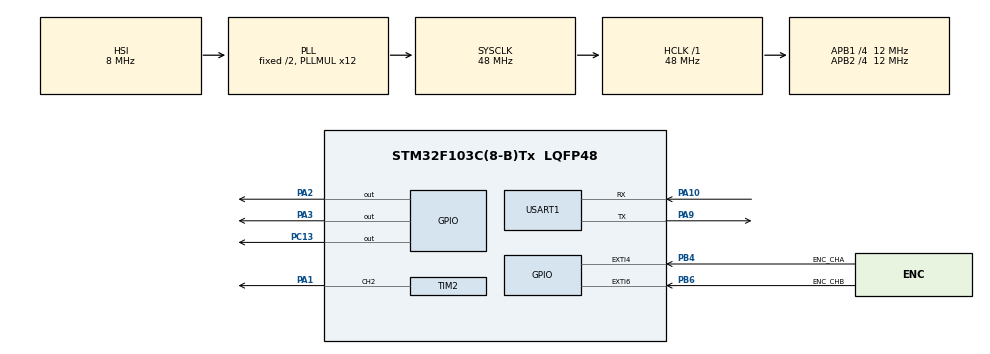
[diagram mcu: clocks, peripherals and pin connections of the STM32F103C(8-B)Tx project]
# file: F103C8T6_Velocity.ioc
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Mcu.Family=STM32F1
Mcu.Name=STM32F103C(8-B)Tx
Mcu.Package=LQFP48
NVIC.EXTI4_IRQn=true\:0\:0\:false\:false\:true\:true\:true\:true
NVIC.EXTI9_5_IRQn=true\:0\:0\:false\:false\:true\:true\:true\:true
NVIC.PriorityGroup=NVIC_PRIORITYGROUP_4
NVIC.TIM3_IRQn=true\:0\:0\:false\:false\:true\:true\:true\:true
NVIC.TIM4_IRQn=true\:0\:0\:false\:false\:true\:true\:true\:true
NVIC.USART1_IRQn=true\:0\:0\:false\:false\:true\:true\:true\:true
PA1.Signal=S_TIM2_CH2
PA10.Mode=Asynchronous
PA10.Signal=USART1_RX
PA13.Mode=Serial_Wire
PA13.Signal=SYS_JTMS-SWDIO
PA14.Mode=Serial_Wire
PA14.Signal=SYS_JTCK-SWCLK
PA2.Signal=GPIO_Output
PA3.Signal=GPIO_Output
PA9.Mode=Asynchronous
PA9.Signal=USART1_TX
PB4.GPIO_Label=ENC_CHA
PB4.GPIO_ModeDefaultEXTI=GPIO_MODE_IT_RISING_FALLING
PB4.GPIO_PuPd=GPIO_PULLUP
PB4.Signal=GPXTI4
PB6.GPIO_Label=ENC_CHB
PB6.GPIO_ModeDefaultEXTI=GPIO_MODE_IT_RISING_FALLING
PB6.GPIO_PuPd=GPIO_PULLUP
PB6.Signal=GPXTI6
PC13-TAMPER-RTC.Signal=GPIO_Output
ProjectManager.HeapSize=0x200
ProjectManager.StackSize=0x400
ProjectManager.TargetToolchain=MDK-ARM V5.32
RCC.AHBFreq_Value=48000000
RCC.APB1CLKDivider=RCC_HCLK_DIV4
RCC.APB1Freq_Value=12000000
RCC.APB1TimFreq_Value=24000000
RCC.APB2CLKDivider=RCC_HCLK_DIV4
RCC.APB2Freq_Value=12000000
RCC.APB2TimFreq_Value=24000000
RCC.HCLKFreq_Value=48000000
RCC.PLLMUL=RCC_PLL_MUL12
RCC.SYSCLKFreq_VALUE=48000000
RCC.SYSCLKSource=RCC_SYSCLKSOURCE_PLLCLK
RCC.USBFreq_Value=48000000
SH.S_TIM2_CH2.0=TIM2_CH2,PWM Generation2 CH2
TIM2.Channel-PWM\ Generation2\ CH2=TIM_CHANNEL_2
TIM2.Period=100
TIM2.Prescaler=11
TIM3.Period=4
TIM3.Prescaler=23999
TIM4.Period=9
TIM4.Prescaler=23999
USART1.VirtualMode=VM_ASYNC
VP_TIM3_VS_ClockSourceINT.Mode=Internal
VP_TIM4_VS_ClockSourceINT.Mode=Internal
board=custom

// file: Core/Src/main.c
/* USER CODE BEGIN Header */
/**
  ******************************************************************************
  * @file           : main.c
  * @brief          : Main program body
  ******************************************************************************
  * @attention
  *
  * Copyright (c) 2023 STMicroelectronics.
  * All rights reserved.
  *
  * This software is licensed under terms that can be found in the LICENSE file
  * in the root directory of this software component.
  * If no LICENSE file comes with this software, it is provided AS-IS.
  *
  ******************************************************************************
  */
/* USER CODE END Header */
#include "main.h"

/* USER CODE BEGIN Includes */
#include "string.h"
#include "stdio.h"
#include "stdlib.h"
#include "stdbool.h"
/* USER CODE END Includes */

/* USER CODE BEGIN PD */
#define UPDATE_PERIOD			0.005		/* Chu ki cap nhat: 5ms = ngat timer 4 */
#define PULSES_PER_ROUND		11			/* So xung tren 1 vong cua dong co */
/* USER CODE END PD */

TIM_HandleTypeDef htim2;
TIM_HandleTypeDef htim3;
TIM_HandleTypeDef htim4;

UART_HandleTypeDef huart1;

/* USER CODE BEGIN PV */
/* Thong so ham PIController : tuy vao loai dong co ma tinh lai cac thong so Kp, Ki, Kb */
float 		Kp 							= 0.063552632;			/* Ti le */
float 		Ki 							= 2.192982456;			/* Tich phan */
float 		Kd 							= 0.0;							/* Vi phan */
float			Kb 							= 14;			/* Dung cho Anti-windup */
int32_t 	UHiLim 					= 100;							/* Gioi han tren pwm */
int32_t 	ULoLim 					= 0;								/* Gioi han duoi pwm */

/* Thong so ham HAL_UART_RxCpltCallback */
bool 			run             = false;				/* Dong co stop */
uint16_t	DesiredSpeed  	= 0;						/* Van toc mong muon (RPM) */
float			DesiredVel  		= 0;						/* Van toc mong muon (rad/s) */
uint8_t 	Rx_indx;
char 			Rx_Buffer[20];
char 			Rx_data[2];

/* Thong so ham HAL_GPIO_EXTI_Callback */
uint8_t 	PreviousState 	= 0;			/* Trang thai encoder chu ki truoc */
int16_t 	CountValue  		= 0;			/* Bien dem encoder => tinh vi tri */
int32_t 	PosCnt  				= 0;			/* Bien dem so vong quay => tinh vi tri */
uint16_t 	VelCnt      		= 0;			/* Bien dem encoder => tinh van toc */
uint16_t 	VelTemp      		= 0;			/* Bien dem encoder => tinh van toc */

/* Thong so ham HAL_TIM_PeriodElapsedCallback */
float 		CurrVel 				= 0;	 		/* Van toc hien tai (rad/s) */
float 		CurrSpeed 			= 0;	 		/* Van toc hien tai (RPM) */
uint8_t 	tick						= 0;			/* Dung de dem cho timer 5 */
uint8_t 	PWMSet 					= 0;	 		/* PWM dieu khien dong co */
/* USER CODE END PV */

void SystemClock_Config(void);
static void MX_GPIO_Init(void);
static void MX_TIM2_Init(void);
static void MX_TIM3_Init(void);
static void MX_TIM4_Init(void);
static void MX_USART1_UART_Init(void);

/* USER CODE BEGIN 0 */
/* ====================================== Ham printf => gui du lieu qua serial (len C#)====================================== */
//------------------------------Retarget printf--------------------------------//
struct __FILE
{
  int handle;
  /* Whatever you require here. If the only file you are using is */
  /* standard output using printf() for debugging, no file handling */
  /* is required. */
};

FILE __stdout;
int fputc(int ch, FILE *f)
{
	char tempch = ch;

	HAL_UART_Transmit(&huart1, (uint8_t *)&	tempch,1,100);
	return ch;
}

/* ================================================= Ket thuc ham printf  =================================================== */

/* ================================================= Ham dieu khien van toc su dung bo PI +(Anti-windup)  =================================================== */
int32_t PIController(float desired_val, float real_val, float gain, float Ki, float Kb, int uHiLim, int uLoLim)
{
		/* Controller values */
		static float err_reset;
		static float uI_p;
		float err, uP, uI;
		int uOut;

		/* Algorithm */
		err = (desired_val - real_val);
			/* Proportional */
		uP = gain * err;
			/* Integral (with Anti-windup) */
		uI = uI_p + (Ki * UPDATE_PERIOD *err) + Kb * UPDATE_PERIOD * err_reset;
			/* Integral part */
		uI_p = uI;
			/* Output control */
		uOut = (int)(uP + uI);
			/* Output saturation */
		if(uOut > uHiLim)
		{
			err_reset = uHiLim - uOut;
			uOut = uHiLim;
		}
		else if(uOut < uLoLim)
		{
			err_reset = uLoLim - uOut;
			uOut = uLoLim;
		}
		return uOut;
}
/* ================================================= Ket thuc ham dieu khien van toc su dung bo PI  =================================================== */

/* ====================================== Ham dieu khien dong co => xet chieu quay va pwm ====================================== */
void motorRot(uint8_t runMode, int32_t pwmSet)
{
	if(runMode == 1)			/* quay chieu CW */
	{
		HAL_GPIO_WritePin(GPIOA, GPIO_PIN_2, GPIO_PIN_RESET);
		HAL_GPIO_WritePin(GPIOA, GPIO_PIN_3, GPIO_PIN_SET);
		__HAL_TIM_SetCompare(&htim2, TIM_CHANNEL_2, pwmSet);
	}
	else if(runMode == 0)	/* quay chieu CCW */
	{
		HAL_GPIO_WritePin(GPIOA, GPIO_PIN_2, GPIO_PIN_SET);
		HAL_GPIO_WritePin(GPIOA, GPIO_PIN_3, GPIO_PIN_RESET);
		__HAL_TIM_SetCompare(&htim2, TIM_CHANNEL_2, pwmSet);
	}
	else									/* stop */
	{
		HAL_GPIO_WritePin(GPIOA, GPIO_PIN_2, GPIO_PIN_SET);
		HAL_GPIO_WritePin(GPIOA, GPIO_PIN_3, GPIO_PIN_RESET);
		__HAL_TIM_SetCompare(&htim2, TIM_CHANNEL_2, 0);
	}
}
/* =============================================== Ket thuc ham dieu khien dong co ============================================= */
/* USER CODE END 0 */

int main(void)
{

  /* MCU Configuration--------------------------------------------------------*/

  /* Reset of all peripherals, Initializes the Flash interface and the Systick. */
  HAL_Init();

  /* Configure the system clock */
  SystemClock_Config();

  /* Initialize all configured peripherals */
  MX_GPIO_Init();
  MX_TIM2_Init();
  MX_TIM3_Init();
  MX_TIM4_Init();
  MX_USART1_UART_Init();
  /* USER CODE BEGIN 2 */
	HAL_TIM_PWM_Start(&htim2, TIM_CHANNEL_2);						/* Enable PWM */
	HAL_TIM_Base_Start_IT(&htim3);											/* Enable interrupt Timer 3 */
	HAL_TIM_Base_Start_IT(&htim4);											/* Enable interrupt Timer 4 */
	HAL_UART_Receive_IT(&huart1,(uint8_t*) Rx_data, 1);	/* Enable receive interrupt UART */
	HAL_GPIO_WritePin(GPIOC,GPIO_PIN_13,0);             /* Sang den xanh */
  /* USER CODE END 2 */

  /* Infinite loop */
  while (1)
  {

  }
}

void SystemClock_Config(void)
{
  RCC_OscInitTypeDef RCC_OscInitStruct = {0};
  RCC_ClkInitTypeDef RCC_ClkInitStruct = {0};

  /** Initializes the RCC Oscillators according to the specified parameters
  * in the RCC_OscInitTypeDef structure.
  */
  RCC_OscInitStruct.OscillatorType = RCC_OSCILLATORTYPE_HSI;
  RCC_OscInitStruct.HSIState = RCC_HSI_ON;
  RCC_OscInitStruct.HSICalibrationValue = RCC_HSICALIBRATION_DEFAULT;
  RCC_OscInitStruct.PLL.PLLState = RCC_PLL_ON;
  RCC_OscInitStruct.PLL.PLLSource = RCC_PLLSOURCE_HSI_DIV2;
  RCC_OscInitStruct.PLL.PLLMUL = RCC_PLL_MUL12;
  if (HAL_RCC_OscConfig(&RCC_OscInitStruct) != HAL_OK)
  {
    Error_Handler();
  }

  /** Initializes the CPU, AHB and APB buses clocks
  */
  RCC_ClkInitStruct.ClockType = RCC_CLOCKTYPE_HCLK|RCC_CLOCKTYPE_SYSCLK
                              |RCC_CLOCKTYPE_PCLK1|RCC_CLOCKTYPE_PCLK2;
  RCC_ClkInitStruct.SYSCLKSource = RCC_SYSCLKSOURCE_PLLCLK;
  RCC_ClkInitStruct.AHBCLKDivider = RCC_SYSCLK_DIV1;
  RCC_ClkInitStruct.APB1CLKDivider = RCC_HCLK_DIV4;
  RCC_ClkInitStruct.APB2CLKDivider = RCC_HCLK_DIV4;

  if (HAL_RCC_ClockConfig(&RCC_ClkInitStruct, FLASH_LATENCY_1) != HAL_OK)
  {
    Error_Handler();
  }
}

static void MX_TIM2_Init(void)
{

  TIM_MasterConfigTypeDef sMasterConfig = {0};
  TIM_OC_InitTypeDef sConfigOC = {0};

  htim2.Instance = TIM2;
  htim2.Init.Prescaler = 11;
  htim2.Init.CounterMode = TIM_COUNTERMODE_UP;
  htim2.Init.Period = 100;
  htim2.Init.ClockDivision = TIM_CLOCKDIVISION_DIV1;
  htim2.Init.AutoReloadPreload = TIM_AUTORELOAD_PRELOAD_DISABLE;
  if (HAL_TIM_PWM_Init(&htim2) != HAL_OK)
  {
    Error_Handler();
  }
  sMasterConfig.MasterOutputTrigger = TIM_TRGO_RESET;
  sMasterConfig.MasterSlaveMode = TIM_MASTERSLAVEMODE_DISABLE;
  if (HAL_TIMEx_MasterConfigSynchronization(&htim2, &sMasterConfig) != HAL_OK)
  {
    Error_Handler();
  }
  sConfigOC.OCMode = TIM_OCMODE_PWM1;
  sConfigOC.Pulse = 0;
  sConfigOC.OCPolarity = TIM_OCPOLARITY_HIGH;
  sConfigOC.OCFastMode = TIM_OCFAST_DISABLE;
  if (HAL_TIM_PWM_ConfigChannel(&htim2, &sConfigOC, TIM_CHANNEL_2) != HAL_OK)
  {
    Error_Handler();
  }
  HAL_TIM_MspPostInit(&htim2);

}

static void MX_TIM3_Init(void)
{

  TIM_ClockConfigTypeDef sClockSourceConfig = {0};
  TIM_MasterConfigTypeDef sMasterConfig = {0};

  htim3.Instance = TIM3;
  htim3.Init.Prescaler = 23999;
  htim3.Init.CounterMode = TIM_COUNTERMODE_UP;
  htim3.Init.Period = 4;
  htim3.Init.ClockDivision = TIM_CLOCKDIVISION_DIV1;
  htim3.Init.AutoReloadPreload = TIM_AUTORELOAD_PRELOAD_DISABLE;
  if (HAL_TIM_Base_Init(&htim3) != HAL_OK)
  {
    Error_Handler();
  }
  sClockSourceConfig.ClockSource = TIM_CLOCKSOURCE_INTERNAL;
  if (HAL_TIM_ConfigClockSource(&htim3, &sClockSourceConfig) != HAL_OK)
  {
    Error_Handler();
  }
  sMasterConfig.MasterOutputTrigger = TIM_TRGO_RESET;
  sMasterConfig.MasterSlaveMode = TIM_MASTERSLAVEMODE_DISABLE;
  if (HAL_TIMEx_MasterConfigSynchronization(&htim3, &sMasterConfig) != HAL_OK)
  {
    Error_Handler();
  }

}

static void MX_TIM4_Init(void)
{

  TIM_ClockConfigTypeDef sClockSourceConfig = {0};
  TIM_MasterConfigTypeDef sMasterConfig = {0};

  htim4.Instance = TIM4;
  htim4.Init.Prescaler = 23999;
  htim4.Init.CounterMode = TIM_COUNTERMODE_UP;
  htim4.Init.Period = 9;
  htim4.Init.ClockDivision = TIM_CLOCKDIVISION_DIV1;
  htim4.Init.AutoReloadPreload = TIM_AUTORELOAD_PRELOAD_DISABLE;
  if (HAL_TIM_Base_Init(&htim4) != HAL_OK)
  {
    Error_Handler();
  }
  sClockSourceConfig.ClockSource = TIM_CLOCKSOURCE_INTERNAL;
  if (HAL_TIM_ConfigClockSource(&htim4, &sClockSourceConfig) != HAL_OK)
  {
    Error_Handler();
  }
  sMasterConfig.MasterOutputTrigger = TIM_TRGO_RESET;
  sMasterConfig.MasterSlaveMode = TIM_MASTERSLAVEMODE_DISABLE;
  if (HAL_TIMEx_MasterConfigSynchronization(&htim4, &sMasterConfig) != HAL_OK)
  {
    Error_Handler();
  }

}

static void MX_USART1_UART_Init(void)
{

  huart1.Instance = USART1;
  huart1.Init.BaudRate = 115200;
  huart1.Init.WordLength = UART_WORDLENGTH_8B;
  huart1.Init.StopBits = UART_STOPBITS_1;
  huart1.Init.Parity = UART_PARITY_NONE;
  huart1.Init.Mode = UART_MODE_TX_RX;
  huart1.Init.HwFlowCtl = UART_HWCONTROL_NONE;
  huart1.Init.OverSampling = UART_OVERSAMPLING_16;
  if (HAL_UART_Init(&huart1) != HAL_OK)
  {
    Error_Handler();
  }

}

static void MX_GPIO_Init(void)
{
  GPIO_InitTypeDef GPIO_InitStruct = {0};

  /* GPIO Ports Clock Enable */
  __HAL_RCC_GPIOC_CLK_ENABLE();
  __HAL_RCC_GPIOD_CLK_ENABLE();
  __HAL_RCC_GPIOA_CLK_ENABLE();
  __HAL_RCC_GPIOB_CLK_ENABLE();

  /*Configure GPIO pin Output Level */
  HAL_GPIO_WritePin(GPIOC, GPIO_PIN_13, GPIO_PIN_RESET);

  /*Configure GPIO pin Output Level */
  HAL_GPIO_WritePin(GPIOA, GPIO_PIN_2|GPIO_PIN_3, GPIO_PIN_RESET);

  /*Configure GPIO pin : PC13 */
  GPIO_InitStruct.Pin = GPIO_PIN_13;
  GPIO_InitStruct.Mode = GPIO_MODE_OUTPUT_PP;
  GPIO_InitStruct.Pull = GPIO_NOPULL;
  GPIO_InitStruct.Speed = GPIO_SPEED_FREQ_LOW;
  HAL_GPIO_Init(GPIOC, &GPIO_InitStruct);

  /*Configure GPIO pins : PC14 PC15 */
  GPIO_InitStruct.Pin = GPIO_PIN_14|GPIO_PIN_15;
  GPIO_InitStruct.Mode = GPIO_MODE_ANALOG;
  HAL_GPIO_Init(GPIOC, &GPIO_InitStruct);

  /*Configure GPIO pins : PD0 PD1 */
  GPIO_InitStruct.Pin = GPIO_PIN_0|GPIO_PIN_1;
  GPIO_InitStruct.Mode = GPIO_MODE_ANALOG;
  HAL_GPIO_Init(GPIOD, &GPIO_InitStruct);

  /*Configure GPIO pins : PA0 PA4 PA5 PA6
                           PA7 PA8 PA11 PA12
                           PA15 */
  GPIO_InitStruct.Pin = GPIO_PIN_0|GPIO_PIN_4|GPIO_PIN_5|GPIO_PIN_6
                          |GPIO_PIN_7|GPIO_PIN_8|GPIO_PIN_11|GPIO_PIN_12
                          |GPIO_PIN_15;
  GPIO_InitStruct.Mode = GPIO_MODE_ANALOG;
  HAL_GPIO_Init(GPIOA, &GPIO_InitStruct);

  /*Configure GPIO pins : PA2 PA3 */
  GPIO_InitStruct.Pin = GPIO_PIN_2|GPIO_PIN_3;
  GPIO_InitStruct.Mode = GPIO_MODE_OUTPUT_PP;
  GPIO_InitStruct.Pull = GPIO_NOPULL;
  GPIO_InitStruct.Speed = GPIO_SPEED_FREQ_LOW;
  HAL_GPIO_Init(GPIOA, &GPIO_InitStruct);

  /*Configure GPIO pins : PB0 PB1 PB2 PB10
                           PB11 PB12 PB13 PB14
                           PB15 PB3 PB5 PB7
                           PB8 PB9 */
  GPIO_InitStruct.Pin = GPIO_PIN_0|GPIO_PIN_1|GPIO_PIN_2|GPIO_PIN_10
                          |GPIO_PIN_11|GPIO_PIN_12|GPIO_PIN_13|GPIO_PIN_14
                          |GPIO_PIN_15|GPIO_PIN_3|GPIO_PIN_5|GPIO_PIN_7
                          |GPIO_PIN_8|GPIO_PIN_9;
  GPIO_InitStruct.Mode = GPIO_MODE_ANALOG;
  HAL_GPIO_Init(GPIOB, &GPIO_InitStruct);

  /*Configure GPIO pins : ENC_CHA_Pin ENC_CHB_Pin */
  GPIO_InitStruct.Pin = ENC_CHA_Pin|ENC_CHB_Pin;
  GPIO_InitStruct.Mode = GPIO_MODE_IT_RISING_FALLING;
  GPIO_InitStruct.Pull = GPIO_PULLUP;
  HAL_GPIO_Init(GPIOB, &GPIO_InitStruct);

  /*Configure peripheral I/O remapping */
  __HAL_AFIO_REMAP_PD01_ENABLE();

  /* EXTI interrupt init*/
  HAL_NVIC_SetPriority(EXTI4_IRQn, 0, 0);
  HAL_NVIC_EnableIRQ(EXTI4_IRQn);

  HAL_NVIC_SetPriority(EXTI9_5_IRQn, 0, 0);
  HAL_NVIC_EnableIRQ(EXTI9_5_IRQn);

}

/* USER CODE BEGIN 4 */

/* ================================================= Ham ngat UART => nhan du lieu qua serial =================================================== */
void HAL_UART_RxCpltCallback(UART_HandleTypeDef *huart)
{
	uint8_t i;
	if(huart->Instance == USART1) //uart1
	{
			if(Rx_indx==0) {for (i=0;i<20;i++) Rx_Buffer[i] = 0;}

			switch(Rx_data[0]) {
					/* dung dong co */
					case 'e':
							run = false;
							break;
					/* dong co chay */
					case 'r':
							run = true;
							break;
					case 'v':
							DesiredSpeed = atoi(Rx_Buffer);								/* Van toc mong muon (RPM) */
							DesiredVel = DesiredSpeed*2*3.1415/60;				/* Van toc mong muon (rad/s) */
							memset(Rx_Buffer, 0, sizeof(Rx_Buffer));
							Rx_indx = 0;
							break;
					case '0':
					case '1':
					case '2':
					case '3':
					case '4':
					case '5':
					case '6':
					case '7':
					case '8':
					case '9':
					case '.':
					case '-':																				/* So am */
							Rx_Buffer[Rx_indx++] |= Rx_data[0];
							break;
					default:
							break;
			}
			HAL_UART_Receive_IT(&huart1,(uint8_t*)Rx_data,1);
	}
}
/* ================================================= Ket thuc ham ngat UART =================================================== */

/* ================================================= Ham ngat external => tinh encoder =================================================== */
void HAL_GPIO_EXTI_Callback(uint16_t GPIO_Pin)
{
	// Encoder Channel A
	if(GPIO_Pin == ENC_CHA_Pin) /* ENC_CHA label trong CubeMX */
	{
		unsigned char StateA;
		StateA = (StateA<<1) | HAL_GPIO_ReadPin(GPIOB, GPIO_PIN_4);
		StateA = (StateA<<1) | HAL_GPIO_ReadPin(GPIOB, GPIO_PIN_6);
		StateA = StateA&0x03;
		switch (StateA) {
			case 0:
				if(PreviousState==1) CountValue++;
				else CountValue--;
			break;
			case 1:
				if(PreviousState==3) CountValue++;
				else CountValue--;
			break;
			case 2:
				if(PreviousState==0) CountValue++;
				else CountValue--;
			break;
			case 3:
				if(PreviousState==2) CountValue++;
				else CountValue--;
			break;
			}
		PreviousState = StateA;
		VelCnt++;
		if (CountValue>=4*PULSES_PER_ROUND) {
			CountValue = 0;
			PosCnt++;
		}
		else if	(CountValue<=-4*PULSES_PER_ROUND) {
			CountValue = 0;
			PosCnt--;
		}
	}
	// Encoder Channel B
	if(GPIO_Pin == ENC_CHB_Pin) /* ENC_CHB label trong CubeMX */
	{
		unsigned char StateB;
		StateB = (StateB<<1) | HAL_GPIO_ReadPin(GPIOB, GPIO_PIN_4);
		StateB = (StateB<<1) | HAL_GPIO_ReadPin(GPIOB, GPIO_PIN_6);
		StateB = StateB&0x03;
		switch (StateB) {
			case 0:
				if(PreviousState==1) CountValue++;
				else CountValue--;
			break;
			case 1:
				if(PreviousState==3) CountValue++;
				else CountValue--;
			break;
			case 2:
				if(PreviousState==0) CountValue++;
				else CountValue--;
			break;
			case 3:
				if(PreviousState==2) CountValue++;
				else CountValue--;
			break;
			}
		PreviousState = StateB;
		VelCnt++;
		if (CountValue>=4*PULSES_PER_ROUND) {
			CountValue = 0;
			PosCnt++;
		}
		else if	(CountValue<=-4*PULSES_PER_ROUND) {
			CountValue = 0;
			PosCnt--;
		}
	}
}
/* ================================================= Ket thuc ham ngat external =================================================== */

/* ================================================= Ham ngat timer =================================================== */
void HAL_TIM_PeriodElapsedCallback(TIM_HandleTypeDef *htim) {

	if(htim->Instance==TIM3)																											/* Ngat timer 3: 5ms => tinh PID */
	{
		VelTemp		 	= VelCnt;																												/* Gan bien dem van toc vao bien tam */
		VelCnt 			= 0;																														/* Reset bien dem van toc */
		CurrSpeed 	= 60*VelTemp/(4*PULSES_PER_ROUND*0.005);																			/* RPM */
		CurrVel 		= 2*3.1415*VelTemp/(4*PULSES_PER_ROUND*0.005);																/* rad/s */

		PWMSet = PIController(DesiredVel, CurrVel, Kp, Ki, Kb, UHiLim, ULoLim);	/* Tinh pwm bang bo dieu khien PI */

		motorRot(1,PWMSet);																													/* Xet chieu va pwm cho dong co */

		return;
	}

	if (htim->Instance==TIM4)																											/* Ngat timer 4: 10x5ms => gui gia tri bang ham printf */
	{
		tick++;
		if ((run==true)&&(tick==5)){
			tick = 0;

			printf("V%d\r \n",(int) CurrSpeed);
		}
	}
}
/* ================================================= Ket thuc ham ngat timer =================================================== */

/* USER CODE END 4 */

void Error_Handler(void)
{
  __disable_irq();
  while (1)
  {
  }
}
